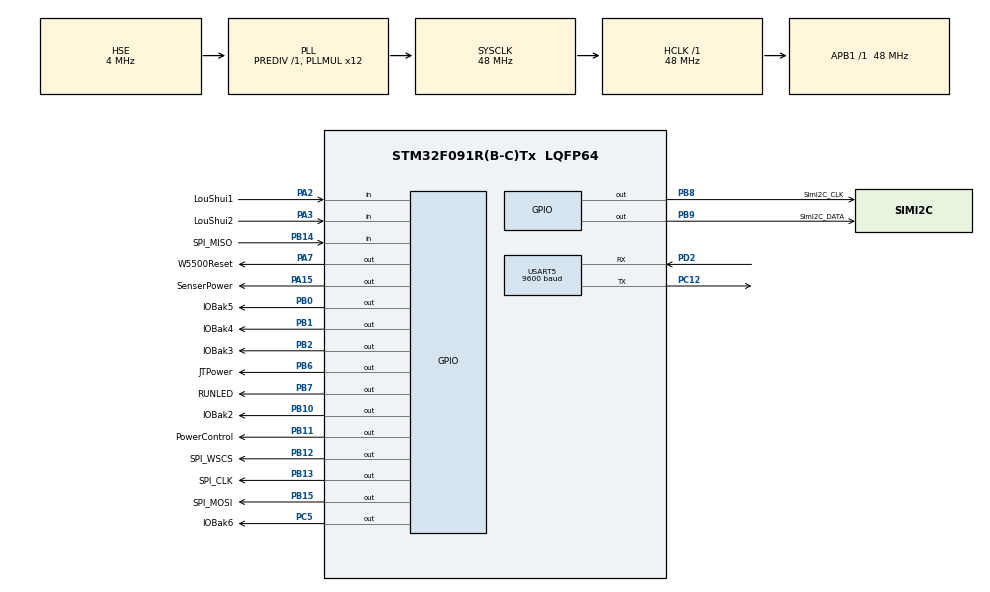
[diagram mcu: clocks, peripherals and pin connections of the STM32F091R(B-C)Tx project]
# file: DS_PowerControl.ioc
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IWDG.Prescaler=IWDG_PRESCALER_256
IWDG.Reload=4095
IWDG.Window=4095
Mcu.Family=STM32F0
Mcu.Name=STM32F091R(B-C)Tx
Mcu.Package=LQFP64
NVIC.TIM14_IRQn=true\:0\:0\:false\:false\:true\:true\:true
NVIC.TIM16_IRQn=true\:0\:0\:false\:false\:true\:true\:true
NVIC.TIM17_IRQn=true\:0\:0\:false\:false\:true\:true\:true
NVIC.TIM7_IRQn=true\:0\:0\:false\:false\:true\:true\:true
NVIC.USART3_8_IRQn=true\:0\:0\:false\:false\:true\:true\:true
PA13.Mode=Serial_Wire
PA13.Signal=SYS_SWDIO
PA14.Mode=Serial_Wire
PA14.Signal=SYS_SWCLK
PA15.GPIO_Label=SenserPower
PA15.PinState=GPIO_PIN_SET
PA15.Signal=GPIO_Output
PA2.GPIO_Label=LouShui1
PA2.Signal=GPIO_Input
PA3.GPIO_Label=LouShui2
PA3.Signal=GPIO_Input
PA7.GPIO_Label=W5500Reset
PA7.PinState=GPIO_PIN_SET
PA7.Signal=GPIO_Output
PB0.GPIO_Label=IOBak5
PB0.Signal=GPIO_Output
PB1.GPIO_Label=IOBak4
PB1.Signal=GPIO_Output
PB10.GPIO_Label=IOBak2
PB10.Signal=GPIO_Output
PB11.GPIO_Label=PowerControl
PB11.PinState=GPIO_PIN_SET
PB11.Signal=GPIO_Output
PB12.GPIO_Label=SPI_WSCS
PB12.GPIO_Speed=GPIO_SPEED_FREQ_LOW
PB12.PinState=GPIO_PIN_SET
PB12.Signal=GPIO_Output
PB13.GPIO_Label=SPI_CLK
PB13.GPIO_Speed=GPIO_SPEED_FREQ_HIGH
PB13.Signal=GPIO_Output
PB14.GPIO_Label=SPI_MISO
PB14.Signal=GPIO_Input
PB15.GPIO_Label=SPI_MOSI
PB15.GPIO_Speed=GPIO_SPEED_FREQ_HIGH
PB15.Signal=GPIO_Output
PB2.GPIO_Label=IOBak3
PB2.Signal=GPIO_Output
PB6.GPIO_Label=JTPower
PB6.PinState=GPIO_PIN_SET
PB6.Signal=GPIO_Output
PB7.GPIO_Label=RUNLED
PB7.Signal=GPIO_Output
PB8.GPIO_FM8=__NULL
PB8.GPIO_Label=SimI2C_CLK
PB8.GPIO_Speed=GPIO_SPEED_FREQ_LOW
PB8.Signal=GPIO_Output
PB9.GPIO_Label=SimI2C_DATA
PB9.Signal=GPIO_Output
PC10.Signal=USART3_TX
PC11.Signal=USART3_RX
PC12.Mode=Asynchronous
PC12.Signal=USART5_TX
PC5.GPIO_Label=IOBak6
PC5.Signal=GPIO_Output
PD2.Mode=Asynchronous
PD2.Signal=USART5_RX
PF0-OSC_IN.Mode=HSE-External-Oscillator
PF0-OSC_IN.Signal=RCC_OSC_IN
PF1-OSC_OUT.Mode=HSE-External-Oscillator
PF1-OSC_OUT.Signal=RCC_OSC_OUT
ProjectManager.HeapSize=0x200
ProjectManager.StackSize=0x400
ProjectManager.TargetToolchain=Other Toolchains (GPDSC)
RCC.AHBFreq_Value=48000000
RCC.APB1Freq_Value=48000000
RCC.APB1TimFreq_Value=48000000
RCC.HCLKFreq_Value=48000000
RCC.HSE_VALUE=4000000
RCC.PLLMUL=RCC_PLL_MUL12
RCC.PLLSourceVirtual=RCC_PLLSOURCE_HSE
RCC.SYSCLKFreq_VALUE=48000000
RCC.SYSCLKSource=RCC_SYSCLKSOURCE_PLLCLK
TIM14.Period=20000
TIM14.Prescaler=48000
TIM16.Period=6000
TIM16.Prescaler=48000
TIM17.ClockDivision=TIM_CLOCKDIVISION_DIV1
TIM17.Period=60000
TIM17.Prescaler=48000
TIM7.Period=5000
TIM7.Prescaler=48000
USART5.BaudRate=9600
USART5.VirtualMode-Asynchronous=VM_ASYNC
VP_IWDG_VS_IWDG.Mode=IWDG_Activate
VP_TIM14_VS_ClockSourceINT.Mode=Enable_Timer
VP_TIM16_VS_ClockSourceINT.Mode=Enable_Timer
VP_TIM17_VS_ClockSourceINT.Mode=Enable_Timer
VP_TIM7_VS_ClockSourceINT.Mode=Enable_Timer
board=DiShengControl3

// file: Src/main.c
/* USER CODE BEGIN Header */
/**
  ******************************************************************************
  * @file           : main.c
  * @brief          : Main program body
  ******************************************************************************
  ** This notice applies to any and all portions of this file
  * that are not between comment pairs USER CODE BEGIN and
  * USER CODE END. Other portions of this file, whether
  * inserted by the user or by software development tools
  * are owned by their respective copyright owners.
  *
  * COPYRIGHT(c) 2019 STMicroelectronics
  *
  * Redistribution and use in source and binary forms, with or without modification,
  * are permitted provided that the following conditions are met:
  *   1. Redistributions of source code must retain the above copyright notice,
  *      this list of conditions and the following disclaimer.
  *   2. Redistributions in binary form must reproduce the above copyright notice,
  *      this list of conditions and the following disclaimer in the documentation
  *      and/or other materials provided with the distribution.
  *   3. Neither the name of STMicroelectronics nor the names of its contributors
  *      may be used to endorse or promote products derived from this software
  *      without specific prior written permission.
  *
  * THIS SOFTWARE IS PROVIDED BY THE COPYRIGHT HOLDERS AND CONTRIBUTORS "AS IS"
  * AND ANY EXPRESS OR IMPLIED WARRANTIES, INCLUDING, BUT NOT LIMITED TO, THE
  * IMPLIED WARRANTIES OF MERCHANTABILITY AND FITNESS FOR A PARTICULAR PURPOSE ARE
  * DISCLAIMED. IN NO EVENT SHALL THE COPYRIGHT HOLDER OR CONTRIBUTORS BE LIABLE
  * FOR ANY DIRECT, INDIRECT, INCIDENTAL, SPECIAL, EXEMPLARY, OR CONSEQUENTIAL
  * DAMAGES (INCLUDING, BUT NOT LIMITED TO, PROCUREMENT OF SUBSTITUTE GOODS OR
  * SERVICES; LOSS OF USE, DATA, OR PROFITS; OR BUSINESS INTERRUPTION) HOWEVER
  * CAUSED AND ON ANY THEORY OF LIABILITY, WHETHER IN CONTRACT, STRICT LIABILITY,
  * OR TORT (INCLUDING NEGLIGENCE OR OTHERWISE) ARISING IN ANY WAY OUT OF THE USE
  * OF THIS SOFTWARE, EVEN IF ADVISED OF THE POSSIBILITY OF SUCH DAMAGE.
  *
  ******************************************************************************
  */
/* USER CODE END Header */

#include "main.h"
#include "iwdg.h"
#include "tim.h"
#include "usart.h"
#include "gpio.h"

/* USER CODE BEGIN Includes */
#include "..\..\..\WF_Device\stm32\wfSys.h"
#include "..\wf\w5500_Work.h"
#include "..\wf\Variables.h"
#include "..\..\..\WF_Device\SimSPI.h"
#include "..\..\..\WF_Device\SimI2C.h"
#include "..\..\..\WF_Device\MS8607.h"
#include "..\..\..\WF_Device\CP1616_Client.h"
/* USER CODE END Includes */

/* USER CODE BEGIN PV */
uint32_t RunTick;
uint32_t ReadSensorTick;
uint32_t bLouShui;
uint8_t cp1717TxList1[7]={0x16,0x16,0x01,0x01,0x00,0x2e,0x0d};
/* USER CODE END PV */

void SystemClock_Config(void);

int main(void)
{

  /* MCU Configuration--------------------------------------------------------*/

  /* Reset of all peripherals, Initializes the Flash interface and the Systick. */
  HAL_Init();

  /* Configure the system clock */
  SystemClock_Config();

  /* Initialize all configured peripherals */
  MX_GPIO_Init();
  MX_IWDG_Init();
  MX_TIM17_Init();
  MX_TIM16_Init();
  MX_TIM14_Init();
  MX_TIM7_Init();
  MX_USART5_UART_Init();
  /* USER CODE BEGIN 2 */
  CP1717_Client_Addr=1;
  TIM17->CR1 |= TIM_CR1_URS;
  wfDelay_init(48);
  Reset_W5500();
  InitSystemParam();
  SimSPI_Init();
  w5500LibInit();
  Power_ON();
  SimI2C_Init();
  MS8607_Init();
  HAL_UART_Receive_IT(&huart5,&Uart3Rx,1);

  __HAL_TIM_CLEAR_IT(&htim7, TIM_IT_UPDATE);
  HAL_TIM_Base_Start_IT(&htim7);
  /* USER CODE END 2 */

  /* Infinite loop */
  /* USER CODE BEGIN WHILE */
  bLouShui=0;
  bResetAdvantech=0;
  bNeedTx=0;
  while (1)
  {
    /* USER CODE END WHILE */

    /* USER CODE BEGIN 3 */
	  HAL_IWDG_Refresh(&hiwdg);
	  if(bLouShui==0)
	  {
		  if((HAL_GPIO_ReadPin(LouShui1_GPIO_Port,LouShui1_Pin)==GPIO_PIN_RESET) && (HAL_GPIO_ReadPin(LouShui2_GPIO_Port,LouShui2_Pin)==GPIO_PIN_RESET))
		  {
			  HAL_Delay(20);
			  if((HAL_GPIO_ReadPin(LouShui1_GPIO_Port,LouShui1_Pin)==GPIO_PIN_RESET) && (HAL_GPIO_ReadPin(LouShui2_GPIO_Port,LouShui2_Pin)==GPIO_PIN_RESET))
			  {
				  bLouShui=1;
				  Power_OFF();
			  }
		  }
	  }

	  if(bLouShui==0 && bResetAdvantech==0)//û©ˮ��û����
	  {
		  if(MissAdvantech>60)//300s
		  {
			  Power_OFF();
			  __HAL_TIM_SET_COUNTER(&htim14,0);
			  __HAL_TIM_CLEAR_IT(&htim14, TIM_IT_UPDATE);
			  HAL_TIM_Base_Start_IT(&htim14);
			  bResetAdvantech=1;
		  }
	  }
// 	  if(w5500Retry>10)
// 	  {
// 		  NVIC_SystemReset();
// 	  }
// 	  if(MissServer>10)
// 	  {
// 		  Reset_W5500();
// 		  w5500LibInit();
// 		  MissServer=0;
// 		  w5500Retry++;
// 	  }
	  if(GetDeltaTick(RunTick)>1000)
	  {
		  RunTick=HAL_GetTick();
		  HAL_GPIO_TogglePin(RUNLED_GPIO_Port,RUNLED_Pin);
	  }
	  if(GetDeltaTick(ReadSensorTick)>2000)
	  {
		  ReadSensorTick=HAL_GetTick();
		  if(bNeedTx==0 || MS8607_Flags.bInit==0)
		  {
			  bNeedTx=1;
			  MS8607Err++;
			  if(MS8607_Flags.bInit!=0)
			  {
				  if(MS8607_ReadPT(ms8607_pressure_resolution_osr_8192))
					  MS8607Err=0;
				  if(MS8607_ReadRH()!=0)
					  MS8607Err=0;
			  }
			  else
			  {
				  if(MS8607_Init()!=0)
					  MS8607Err=0;
			  }
		  }
	  }
	  if(bW5500Net==0)
		  w5500LibInit();
	  else
		  loopback_tcpc();
  }
  /* USER CODE END 3 */
}

void SystemClock_Config(void)
{
  RCC_OscInitTypeDef RCC_OscInitStruct = {0};
  RCC_ClkInitTypeDef RCC_ClkInitStruct = {0};

  /** Initializes the CPU, AHB and APB busses clocks
  */
  RCC_OscInitStruct.OscillatorType = RCC_OSCILLATORTYPE_LSI|RCC_OSCILLATORTYPE_HSE;
  RCC_OscInitStruct.HSEState = RCC_HSE_ON;
  RCC_OscInitStruct.LSIState = RCC_LSI_ON;
  RCC_OscInitStruct.PLL.PLLState = RCC_PLL_ON;
  RCC_OscInitStruct.PLL.PLLSource = RCC_PLLSOURCE_HSE;
  RCC_OscInitStruct.PLL.PLLMUL = RCC_PLL_MUL12;
  RCC_OscInitStruct.PLL.PREDIV = RCC_PREDIV_DIV1;
  if (HAL_RCC_OscConfig(&RCC_OscInitStruct) != HAL_OK)
  {
    Error_Handler();
  }
  /** Initializes the CPU, AHB and APB busses clocks
  */
  RCC_ClkInitStruct.ClockType = RCC_CLOCKTYPE_HCLK|RCC_CLOCKTYPE_SYSCLK
                              |RCC_CLOCKTYPE_PCLK1;
  RCC_ClkInitStruct.SYSCLKSource = RCC_SYSCLKSOURCE_PLLCLK;
  RCC_ClkInitStruct.AHBCLKDivider = RCC_SYSCLK_DIV1;
  RCC_ClkInitStruct.APB1CLKDivider = RCC_HCLK_DIV1;

  if (HAL_RCC_ClockConfig(&RCC_ClkInitStruct, FLASH_LATENCY_1) != HAL_OK)
  {
    Error_Handler();
  }
}

void Error_Handler(void)
{
}

/************************ (C) COPYRIGHT STMicroelectronics *****END OF FILE****/
